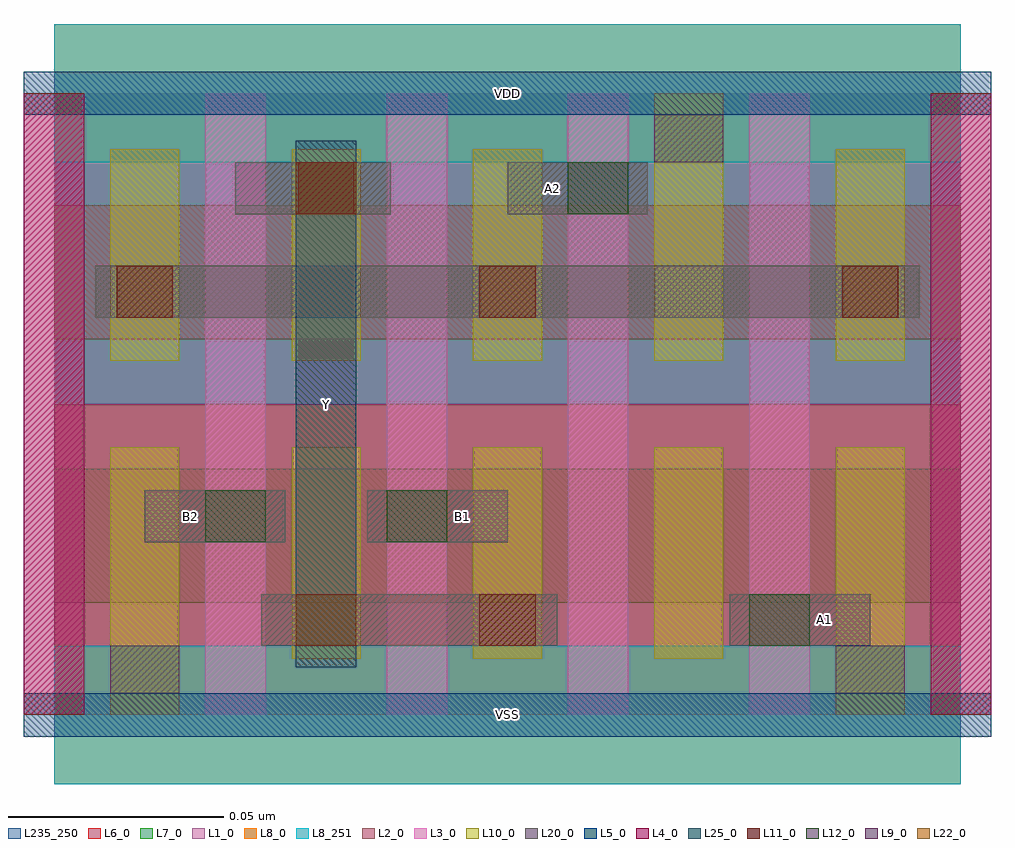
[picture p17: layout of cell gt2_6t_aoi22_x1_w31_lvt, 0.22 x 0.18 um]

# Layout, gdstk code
import gdstk
lib = gdstk.Library(unit=1e-6, precision=5e-10)
def R(c, l, rs):  # rectangles x0, y0, x1, y1
    for r in rs: c.add(gdstk.rectangle(r[:2], r[2:], *l))
def A(c, l, x, y, w, h, nx, ny, dx, dy):  # array of equal rectangles
    R(c, l, [(x+i*dx, y+j*dy, x+i*dx+w, y+j*dy+h) for i in range(nx) for j in range(ny)])
L1_0 = (1, 0)
L2_0 = (2, 0)
L3_0 = (3, 0)
L4_0 = (4, 0)
L5_0 = (5, 0)
L6_0 = (6, 0)
L7_0 = (7, 0)
L8_0 = (8, 0)
L8_251 = (8, 251)
L9_0 = (9, 0)
L10_0 = (10, 0)
L11_0 = (11, 0)
L12_0 = (12, 0)
L20_0 = (20, 0)
L22_0 = (22, 0)
L25_0 = (25, 0)
L235_250 = (235, 250)

gt2_6t_aoi22_x1_w31_lvt = lib.new_cell('gt2_6t_aoi22_x1_w31_lvt')
R(gt2_6t_aoi22_x1_w31_lvt, L1_0, [(0,0.072,0.21,0.144)])
R(gt2_6t_aoi22_x1_w31_lvt, L2_0, [(0,0.026,0.21,0.057), (0,0.087,0.21,0.118)])
A(gt2_6t_aoi22_x1_w31_lvt, L3_0, -0.007, 0, 0.014, 0.144, 6, 1, 0.042, 0)
R(gt2_6t_aoi22_x1_w31_lvt, L4_0, [(-0.007,0,0.007,0.144), (0.203,0,0.217,0.144)])
R(gt2_6t_aoi22_x1_w31_lvt, L5_0, [(-0.007,-0.005,0.217,0.005), (-0.007,0.139,0.217,0.149)])
R(gt2_6t_aoi22_x1_w31_lvt, L6_0, [(0,0,0.21,0.072)])
R(gt2_6t_aoi22_x1_w31_lvt, L7_0, [(0,0.072,0.21,0.144)])
R(gt2_6t_aoi22_x1_w31_lvt, L8_0, [(0,-0.016,0.21,0.016), (0,0.128,0.21,0.16)])
R(gt2_6t_aoi22_x1_w31_lvt, L8_251, [(0,-0.016,0.21,0.016), (0,0.128,0.21,0.16)])
R(gt2_6t_aoi22_x1_w31_lvt, L9_0, [(0.013,0.005,0.029,0.016), (0.181,0.005,0.197,0.016), (0.139,0.128,0.155,0.139)])
A(gt2_6t_aoi22_x1_w31_lvt, L10_0, 0.055, 0.013, 0.016, 0.049, 3, 1, 0.042, 0)
A(gt2_6t_aoi22_x1_w31_lvt, L10_0, 0.013, 0.082, 0.016, 0.049, 3, 1, 0.042, 0)
R(gt2_6t_aoi22_x1_w31_lvt, L10_0, [(0.013,0,0.029,0.062), (0.181,0,0.197,0.062), (0.139,0.082,0.155,0.144), (0.181,0.082,0.197,0.131)])
A(gt2_6t_aoi22_x1_w31_lvt, L11_0, 0.0145, 0.092, 0.013, 0.012, 3, 1, 0.084, 0)
R(gt2_6t_aoi22_x1_w31_lvt, L11_0, [(0.0985,0.016,0.1115,0.028), (0.0565,0.116,0.0695,0.128)])
R(gt2_6t_aoi22_x1_w31_lvt, L12_0, [(0.161,0.016,0.175,0.028), (0.035,0.04,0.049,0.052), (0.077,0.04,0.091,0.052), (0.119,0.116,0.133,0.128)])
R(gt2_6t_aoi22_x1_w31_lvt, L20_0, [(0.048,0.016,0.1165,0.028), (0.1565,0.016,0.189,0.028), (0.021,0.04,0.0535,0.052), (0.0725,0.04,0.105,0.052), (0.0095,0.092,0.2005,0.104), (0.042,0.116,0.078,0.128), (0.105,0.116,0.1375,0.128)])
R(gt2_6t_aoi22_x1_w31_lvt, L22_0, [(0.056,0.016,0.07,0.028), (0.056,0.116,0.07,0.128)])
R(gt2_6t_aoi22_x1_w31_lvt, L25_0, [(0.056,0.011,0.07,0.133)])
R(gt2_6t_aoi22_x1_w31_lvt, L235_250, [(0,0,0.21,0.144)])
gt2_6t_aoi22_x1_w31_lvt.add(gdstk.Label('VSS', (0.105,0), layer=8, texttype=251))
gt2_6t_aoi22_x1_w31_lvt.add(gdstk.Label('VDD', (0.105,0.144), layer=8, texttype=251))
gt2_6t_aoi22_x1_w31_lvt.add(gdstk.Label('A1', (0.1785,0.022), layer=20, texttype=251))
gt2_6t_aoi22_x1_w31_lvt.add(gdstk.Label('A2', (0.1155,0.122), layer=20, texttype=251))
gt2_6t_aoi22_x1_w31_lvt.add(gdstk.Label('B1', (0.0945,0.046), layer=20, texttype=251))
gt2_6t_aoi22_x1_w31_lvt.add(gdstk.Label('B2', (0.0315,0.046), layer=20, texttype=251))
gt2_6t_aoi22_x1_w31_lvt.add(gdstk.Label('Y', (0.063,0.072), layer=25, texttype=251))

lib.write_gds('gt2_6t_aoi22_x1_w31_lvt.gds')
